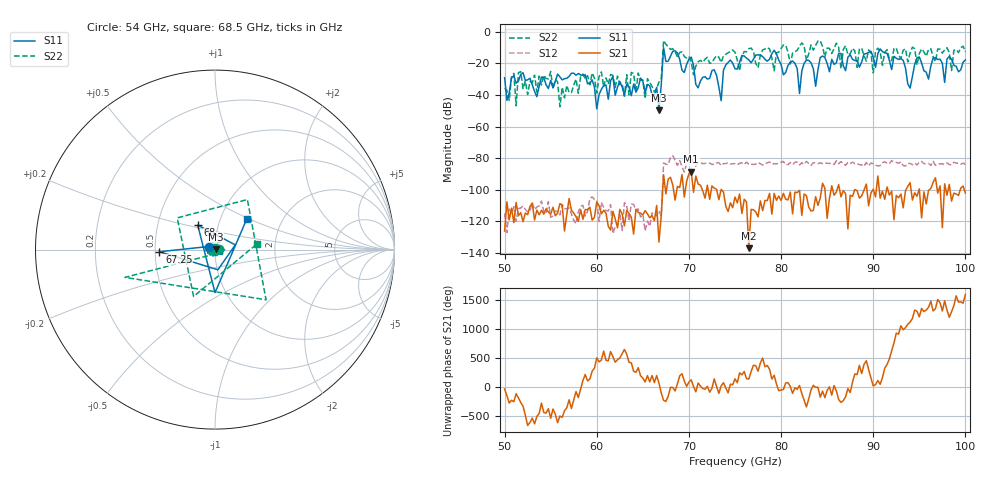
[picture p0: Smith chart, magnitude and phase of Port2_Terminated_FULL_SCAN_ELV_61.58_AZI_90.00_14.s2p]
! 11/25/2026 1:45:09 PM
! C:\ANRITSUVNA\TEMP\TEMP.S2P
! CHANNEL.1
! TR.MEASUREMENT
! RAW.DATA
# HZ S RI R 50.0
! FREQ.HZ  S11RE  S11IM  S21RE  S21IM  S12RE  S12IM  S22RE  S22IM
!; PortSelection: Port_12
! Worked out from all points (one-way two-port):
!   201 points, 50 GHz to 100 GHz, reference 50 ohm
!   highest |S21| = -88.44 dB at 70.25 GHz (marker M1); lowest = -137.0 dB at 76.5 GHz (marker M2)
!   lowest |S11| = -49.7 dB at 66.75 GHz (marker M3), VSWR 1.01, Z = 50.3 + j0.0704 ohm
!   |S11| at or under -10 dB: start of sweep to end of sweep
!   |S22| runs from -47.5 to -5.6 dB; largest |S21 - S12| = 0.00011
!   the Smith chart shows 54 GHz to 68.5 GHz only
!   S11 on the Smith chart (normalised r, x): 54 GHz: 0.93, +0.03; 67.25 GHz: 0.53, -0.01; 68 GHz: 0.80, +0.22; 68.5 GHz: 1.33, +0.49
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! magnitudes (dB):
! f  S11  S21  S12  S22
! 50 GHz  -29.1  -126.0  -114.9  -35.6
! 54 GHz  -28.7  -112.9  -107.1  -33.8
! 56 GHz  -28.6  -108.7  -115.8  -47.5
! 58.5 GHz  -27.7  -118.6  -109.8  -26.9
! 60 GHz  -48.8  -107.5  -106.7  -38.9
! 61.75 GHz  -28.4  -113.6  -127.7  -27.6
! 66.75 GHz  -49.7  -133.0  -113.1  -31.9
! 67.25 GHz  -10.2  -90.5  -83.0  -5.6
! 68 GHz  -15.5  -92.1  -79.6  -11.2
! 68.5 GHz  -12.1  -106.5  -81.4  -12.6
! 70.25 GHz  -16.1  -88.4  -79.6  -19.2
! 73.5 GHz  -43.6  -99.7  -84.6  -19.5
! 73.75 GHz  -24.3  -101.5  -83.4  -15.3
! 75 GHz  -23.5  -104.5  -83.4  -13.0
! 76.5 GHz  -17.8  -137.0  -83.9  -10.8
! 81.25 GHz  -18.6  -115.2  -84.0  -13.6
! 82 GHz  -39.1  -100.4  -84.3  -9.2
! 83.5 GHz  -23.4  -113.0  -82.9  -11.7
! 91.75 GHz  -18.2  -103.3  -83.5  -17.5
! 94 GHz  -35.7  -95.4  -83.2  -13.6
! 94.75 GHz  -16.5  -104.0  -84.3  -21.1
! 100 GHz  -17.9  -102.0  -84.0  -12.8
